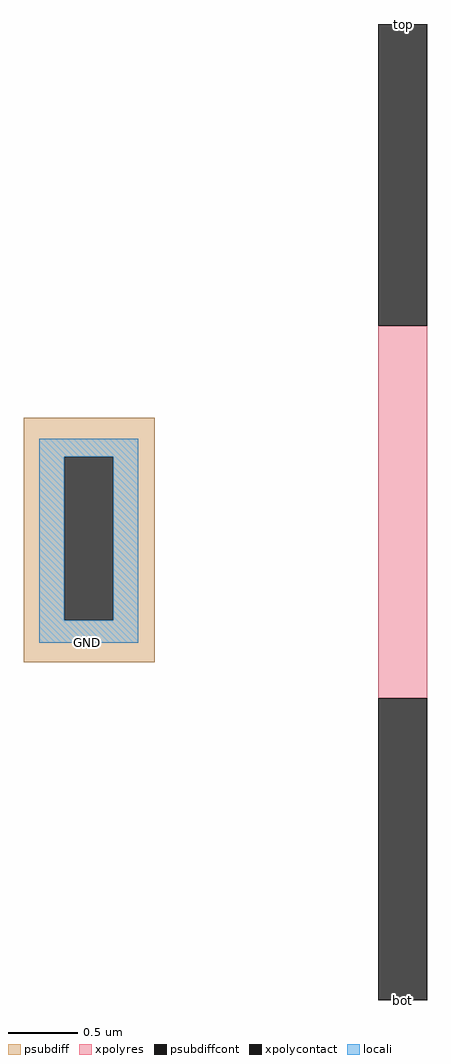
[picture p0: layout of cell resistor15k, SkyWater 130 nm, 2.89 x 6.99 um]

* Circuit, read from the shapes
.subckt resistor15k GND bot top
XR1 top bot GND sky130_fd_pr__res_xhigh_po w=0.35 l=2.67
.ends

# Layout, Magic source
magic
tech sky130A
<< psubdiff >>
rect -254 173 -160 201
rect -254 56 -225 173
rect -190 56 -160 173
rect -254 26 -160 56
<< psubdiffcont >>
rect -225 56 -190 173
<< xpolycontact >>
rect 0 267 35 483
rect 0 -216 35 0
<< xpolyres >>
rect 0 0 35 267
<< locali >>
rect -243 173 -172 186
rect -243 56 -225 173
rect -190 56 -172 173
rect -243 40 -172 56
<< labels >>
rlabel xpolycontact 18 483 18 483 1 top
rlabel xpolycontact 17 -216 17 -216 5 bot
rlabel locali -208 40 -208 40 5 GND
<< end >>
